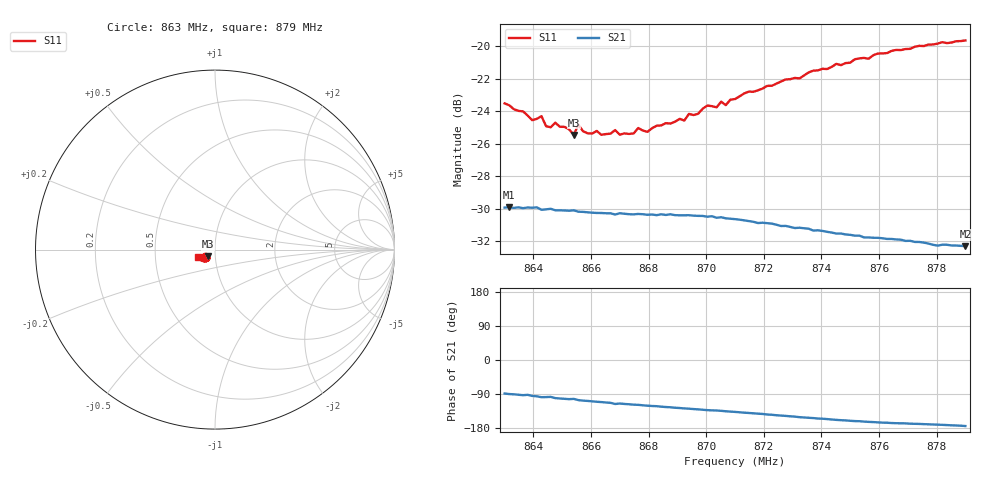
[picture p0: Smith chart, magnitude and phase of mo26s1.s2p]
# HZ S RI R 50
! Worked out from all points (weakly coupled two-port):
!   101 points, 863 MHz to 879 MHz, reference 50 ohm
!   highest |S21| = -29.92 dB at 863.16 MHz (marker M1); lowest = -32.3 dB at 879 MHz (marker M2)
!   lowest |S11| = -25.5 dB at 865.4 MHz (marker M3), VSWR 1.11, Z = 46.3 - j3.53 ohm
!   |S11| at or under -10 dB: start of sweep to end of sweep
!   S12 and S22 are empty: the file has one direction only
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8.63e8  -0.053 -0.0405  0.000891 -0.0319  0 0  0 0
8.6316e8  -0.0519 -0.0404  7.2e-05 -0.0319  0 0  0 0
8.6396e8  -0.0459 -0.0375  -0.00267 -0.0317  0 0  0 0
8.6428e8  -0.0458 -0.0401  -0.00445 -0.0311  0 0  0 0
8.6444e8  -0.0434 -0.0365  -0.00431 -0.0312  0 0  0 0
8.6476e8  -0.0434 -0.0387  -0.00574 -0.0307  0 0  0 0
8.654e8  -0.0374 -0.038  -0.00682 -0.0305  0 0  0 0
8.6556e8  -0.0421 -0.0389  -0.00845 -0.0298  0 0  0 0
8.6572e8  -0.0393 -0.0382  -0.00912 -0.0295  0 0  0 0
8.6636e8  -0.0362 -0.0392  -0.011 -0.0286  0 0  0 0
8.6684e8  -0.0356 -0.0422  -0.0133 -0.0272  0 0  0 0
8.67e8  -0.0339 -0.0413  -0.0129 -0.0278  0 0  0 0
8.6844e8  -0.0337 -0.0461  -0.0166 -0.0254  0 0  0 0
8.6924e8  -0.032 -0.0497  -0.0185 -0.0239  0 0  0 0
8.694e8  -0.0333 -0.0522  -0.0188 -0.0236  0 0  0 0
8.6972e8  -0.0326 -0.0527  -0.0194 -0.0229  0 0  0 0
8.7004e8  -0.0342 -0.0561  -0.0201 -0.0221  0 0  0 0
8.7036e8  -0.0341 -0.0551  -0.0203 -0.0216  0 0  0 0
8.71e8  -0.0372 -0.0579  -0.0215 -0.02  0 0  0 0
8.7372e8  -0.052 -0.0661  -0.0242 -0.0122  0 0  0 0
8.7644e8  -0.076 -0.0599  -0.0248 -0.00603  0 0  0 0
8.79e8  -0.0948 -0.0433  -0.0241 -0.00243  0 0  0 0
